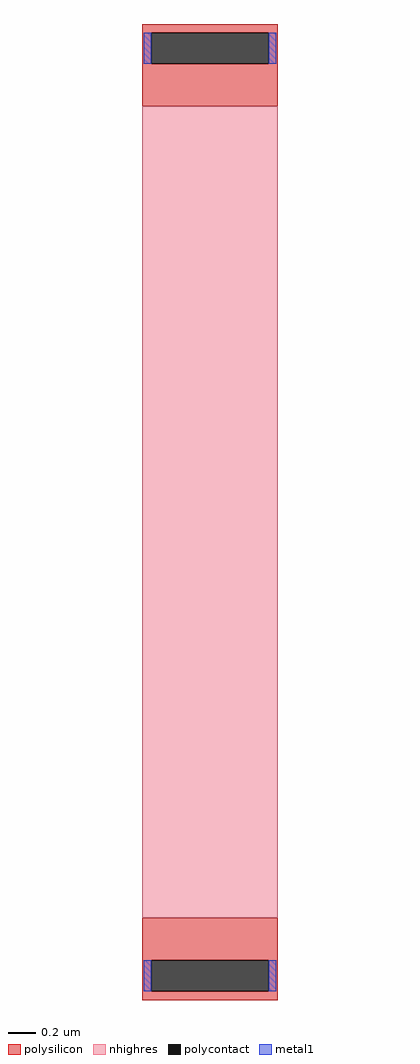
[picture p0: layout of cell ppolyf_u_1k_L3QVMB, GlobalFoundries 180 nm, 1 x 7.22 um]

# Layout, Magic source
magic
tech gf180mcuD
magscale 1 10
<< polysilicon >>
rect -100 709 100 722
rect -100 663 -87 709
rect 87 663 100 709
rect -100 600 100 663
rect -100 -663 100 -600
rect -100 -709 -87 -663
rect 87 -709 100 -663
rect -100 -722 100 -709
<< polycontact >>
rect -87 663 87 709
rect -87 -709 87 -663
<< nhighres >>
rect -100 -600 100 600
<< metal1 >>
rect -98 663 -87 709
rect 87 663 98 709
rect -98 -709 -87 -663
rect 87 -709 98 -663
<< properties >>
string gencell ppolyf_u_1k
string library gf180mcu
string parameters w 1.0 l 6.0 m 1 nx 1 wmin 1.000 lmin 1.000 class resistor rho 1000 val 6.183k dummy 0 dw 0.0296 term 0.0 sterm 0.0 caplen 0.4 snake 0 glc 0 grc 0 gtc 0 gbc 0 roverlap 0 endcov 100 full_metal 0 guard 0 guard_type pwell compatible {ppolyf_u_1k ppolyf_u_1k_6p0}
<< end >>
